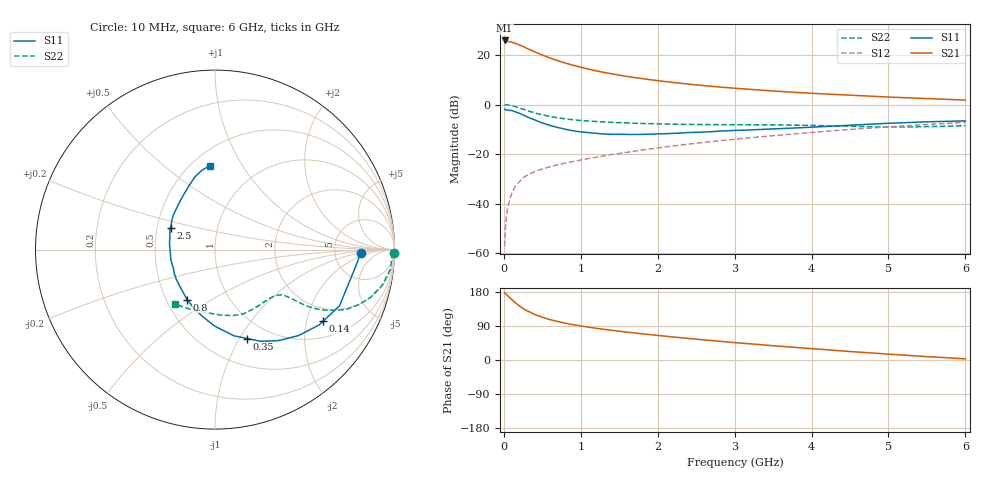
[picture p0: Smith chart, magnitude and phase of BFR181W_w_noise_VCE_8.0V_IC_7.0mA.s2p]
! Infineon Technologies  Discrete & RF Semiconductors
! BFR181W
! VCE =  8.0 V,  IC =  7.0 mA
! Common Emitter S-Parameters:  Jan 2017
# GHz  S  MA  R  50
!  f  S11  S21  S12  S22
! GHz  MAG  ANG  MAG  ANG  MAG  ANG  MAG  ANG
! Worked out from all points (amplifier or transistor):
!   77 points, 10 MHz to 6 GHz, reference 50 ohm
!   highest |S21| = 25.8 dB at 10 MHz (marker M1)
!   |S21| within 3 dB of that: start of sweep to 288 MHz
!   unconditionally stable (mu >= 1): 1.236 GHz to 3.083 GHz
!   at 130 MHz: K = 0.21, MSG = 29.4 dB, |S12| = -34.0 dB
!   at 2.2 GHz: K = 1.05, MAG = 11.4 dB, |S12| = -16.7 dB
!   at 6 GHz: K = 0.84, MSG = 4.5 dB, |S12| = -7.2 dB
!   lowest NFmin = 1.08 dB at 450 MHz
!   S11 on the Smith chart (normalised r, x): 10 MHz: 9.46, -1.18; 140 MHz: 1.51, -2.52; 350 MHz: 0.79, -1.08; 800 MHz: 0.64, -0.39; 2.5 GHz: 0.59, +0.15; 6 GHz: 0.61, +0.74
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0.01  0.8115 -1.5  19.6 178.0  0.0014 88.2  0.9964 -1.2
0.02  0.792 -6.1  19.21 175.2  0.0031 99.4  0.9866 -2.3
0.04  0.7784 -10.1  19 171.6  0.0065 86.8  0.9843 -5.0
0.1  0.7612 -24.3  18.16 159.9  0.0156 79.4  0.9525 -12.0
0.14  0.7225 -33.5  17.33 152.9  0.0213 73.8  0.916 -16.0
0.2  0.6686 -45.7  15.94 142.9  0.0277 70.6  0.8573 -21.0
0.25  0.6179 -55.2  14.8 135.8  0.0334 65.9  0.8076 -24.2
0.3  0.57 -63.6  13.6 129.9  0.0375 62.8  0.7586 -26.6
0.35  0.5268 -70.1  12.56 125.4  0.0409 61.5  0.7188 -28.0
0.4  0.4916 -77.7  11.62 120.1  0.0444 60.4  0.6795 -29.6
0.5  0.4271 -90.0  9.966 112.7  0.0504 59.4  0.6191 -31.2
0.6  0.3799 -100.4  8.697 106.6  0.056 59.1  0.5746 -31.9
0.7  0.3454 -110.1  7.666 101.5  0.0611 59.6  0.5406 -32.3
0.8  0.3183 -119.1  6.866 97.1  0.0664 60.4  0.5146 -32.5
1.1  0.2722 -142.0  5.189 86.8  0.0816 61.8  0.4666 -33.4
1.6  0.2504 -171.9  3.696 73.5  0.1091 63.6  0.4271 -36.9
2.1  0.2589 166.9  2.909 62.9  0.14 64.0  0.4055 -43.2
2.5  0.2759 153.9  2.498 55.0  0.1659 63.3  0.3971 -49.6
3.1  0.3047 138.3  2.082 44.3  0.2071 61.1  0.3922 -59.6
4.1  0.3563 118.6  1.66 28.5  0.2819 55.6  0.3772 -76.8
5.1  0.4255 104.1  1.398 14.2  0.3632 47.6  0.3533 -101.6
6  0.4693 93.3  1.232 3.0  0.4376 39.2  0.3761 -126.0
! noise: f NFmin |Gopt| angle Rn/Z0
0.45  1.08  0.24  17  0.22
0.9  1.13  0.22  31  0.21
1.9  1.55  0.09  86  0.19
2.4  1.7  0.08  96  0.23
